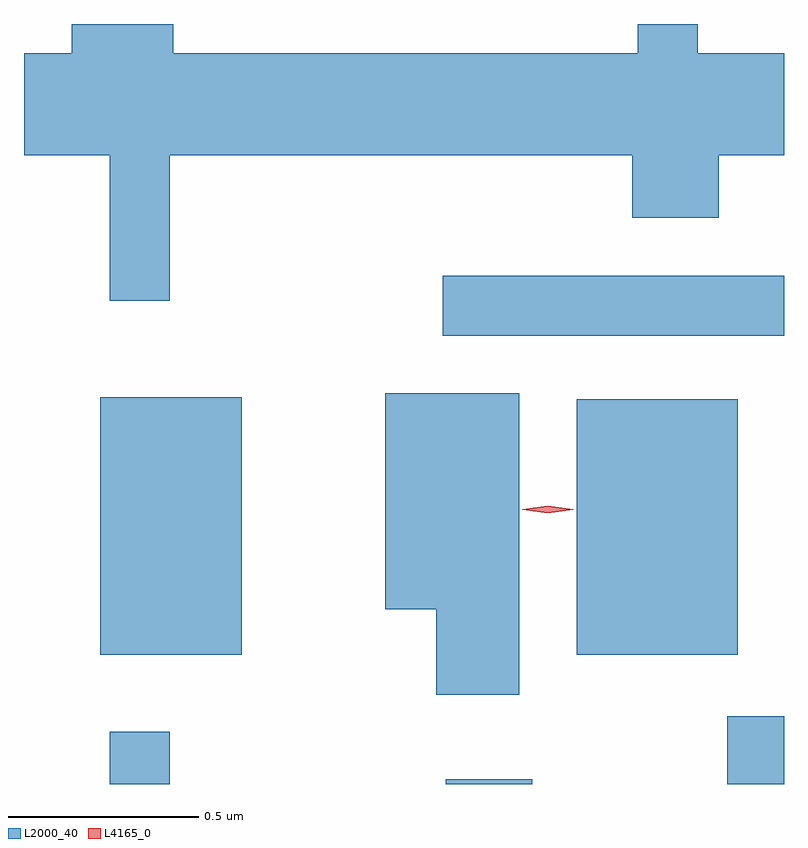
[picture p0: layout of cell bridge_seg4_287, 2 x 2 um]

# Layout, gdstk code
import gdstk
lib = gdstk.Library(unit=1e-6, precision=1e-09)
def R(c, l, rs):  # rectangles x0, y0, x1, y1
    for r in rs: c.add(gdstk.rectangle(r[:2], r[2:], *l))
def P(c, l, *ps):  # polygons
    for p in ps: c.add(gdstk.Polygon(p, *l))
L2000_40 = (2000, 40)
L4165_0 = (4165, 0)

bridge_seg4_287 = lib.new_cell('bridge_seg4_287')
R(bridge_seg4_287, L2000_40, [(534.856,1364.121,535.014,1364.258), (535.741,1364.121,535.969,1364.134), (536.481,1364.121,536.631,1364.299), (534.831,1364.461,535.204,1365.139), (536.086,1364.461,536.509,1365.134), (535.733,1365.301,536.631,1365.459)])
P(bridge_seg4_287, L2000_40, [(535.014,1365.776),(536.231,1365.776),(536.231,1365.611),(536.459,1365.611),(536.459,1365.776),(536.631,1365.776),(536.631,1366.044),(536.404,1366.044),(536.404,1366.121),(536.246,1366.121),(536.246,1366.044),(535.024,1366.044),(535.024,1366.121),(534.756,1366.121),(534.756,1366.044),(534.631,1366.044),(534.631,1365.776),(534.856,1365.776),(534.856,1365.393),(535.014,1365.393)],
  [(535.934,1365.149),(535.581,1365.149),(535.581,1364.581),(535.716,1364.581),(535.716,1364.356),(535.934,1364.356)])
P(bridge_seg4_287, L4165_0, [(536.009,1364.833),(535.943,1364.843),(535.942,1364.843),(535.943,1364.844),(536.009,1364.853),(536.076,1364.844),(536.076,1364.843),(536.076,1364.843)])

lib.write_gds('bridge_seg4_287.gds')
